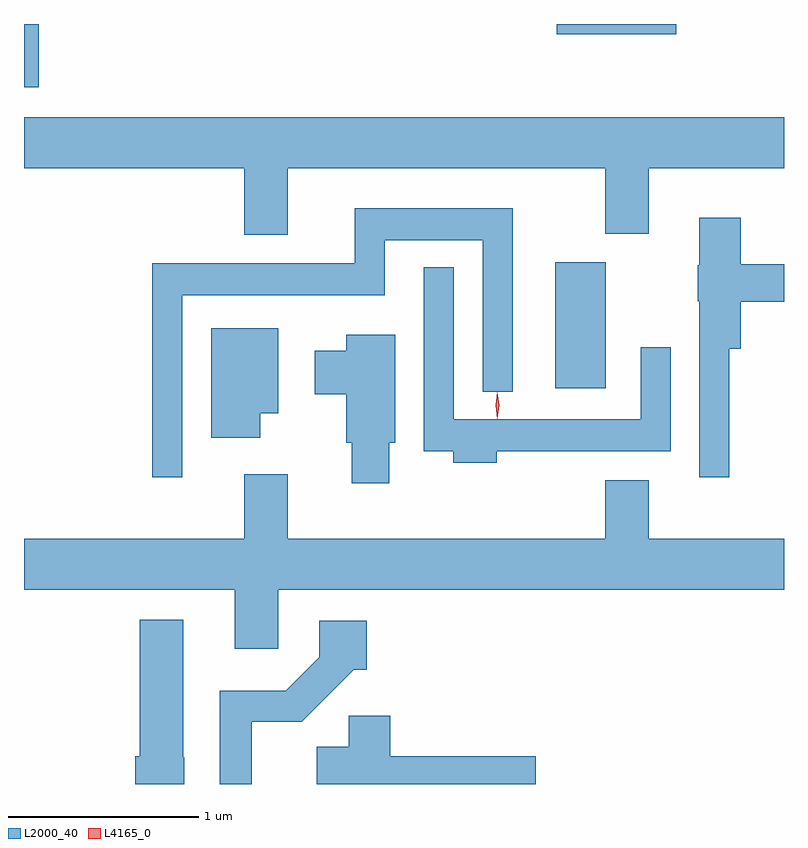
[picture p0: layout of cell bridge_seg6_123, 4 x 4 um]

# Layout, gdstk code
import gdstk
lib = gdstk.Library(unit=1e-6, precision=1e-09)
def R(c, l, rs):  # rectangles x0, y0, x1, y1
    for r in rs: c.add(gdstk.rectangle(r[:2], r[2:], *l))
def P(c, l, *ps):  # polygons
    for p in ps: c.add(gdstk.Polygon(p, *l))
L2000_40 = (2000, 40)
L4165_0 = (4165, 0)

bridge_seg6_123 = lib.new_cell('bridge_seg6_123')
R(bridge_seg6_123, L2000_40, [(1223.136,1659.876,1223.404,1660.539), (1220.341,1661.461,1220.419,1661.794), (1223.146,1661.741,1223.774,1661.794)])
P(bridge_seg6_123, L2000_40, [(1221.729,1661.036),(1223.401,1661.036),(1223.401,1660.691),(1223.629,1660.691),(1223.629,1661.036),(1224.341,1661.036),(1224.341,1661.304),(1220.341,1661.304),(1220.341,1661.036),(1221.501,1661.036),(1221.501,1660.686),(1221.729,1660.686)],
  [(1221.174,1660.366),(1222.239,1660.366),(1222.239,1660.656),(1222.756,1660.656),(1222.756,1659.858),(1222.914,1659.858),(1222.914,1660.824),(1222.081,1660.824),(1222.081,1660.534),(1221.016,1660.534),(1221.016,1659.408),(1221.174,1659.408)],
  [(1224.054,1660.086),(1224.114,1660.086),(1224.114,1660.331),(1224.341,1660.331),(1224.341,1660.529),(1224.114,1660.529),(1224.114,1660.774),(1223.896,1660.774),(1223.896,1660.525),(1223.886,1660.525),(1223.886,1660.335),(1223.896,1660.335),(1223.896,1659.408),(1224.054,1659.408)],
  [(1222.829,1659.546),(1223.744,1659.546),(1223.744,1660.093),(1223.586,1660.093),(1223.586,1659.714),(1222.604,1659.714),(1222.604,1660.513),(1222.446,1660.513),(1222.446,1659.546),(1222.601,1659.546),(1222.601,1659.486),(1222.829,1659.486)],
  [(1221.584,1659.746),(1221.679,1659.746),(1221.679,1660.194),(1221.326,1660.194),(1221.326,1659.616),(1221.584,1659.616)],
  [(1222.264,1659.591),(1222.294,1659.591),(1222.294,1660.159),(1222.036,1660.159),(1222.036,1660.074),(1221.871,1660.074),(1221.871,1659.846),(1222.036,1659.846),(1222.036,1659.591),(1222.066,1659.591),(1222.066,1659.376),(1222.264,1659.376)],
  [(1221.679,1658.816),(1224.341,1658.816),(1224.341,1659.084),(1223.629,1659.084),(1223.629,1659.394),(1223.401,1659.394),(1223.401,1659.084),(1221.729,1659.084),(1221.729,1659.424),(1221.501,1659.424),(1221.501,1659.084),(1220.341,1659.084),(1220.341,1658.816),(1221.451,1658.816),(1221.451,1658.506),(1221.679,1658.506)],
  [(1221.184,1657.935),(1221.179,1657.935),(1221.179,1658.659),(1220.951,1658.659),(1220.951,1657.939),(1220.926,1657.939),(1220.926,1657.794),(1221.184,1657.794)],
  [(1221.539,1658.121),(1221.802,1658.121),(1222.077,1658.396),(1222.144,1658.396),(1222.144,1658.654),(1221.896,1658.654),(1221.896,1658.462),(1221.719,1658.284),(1221.371,1658.284),(1221.371,1657.794),(1221.539,1657.794)],
  [(1223.034,1657.939),(1222.269,1657.939),(1222.269,1658.154),(1222.051,1658.154),(1222.051,1657.989),(1221.881,1657.989),(1221.881,1657.794),(1223.034,1657.794)])
P(bridge_seg6_123, L4165_0, [(1222.832,1659.717),(1222.823,1659.787),(1222.832,1659.856),(1222.833,1659.856),(1222.833,1659.856),(1222.843,1659.787),(1222.833,1659.717),(1222.833,1659.717)])

lib.write_gds('bridge_seg6_123.gds')
